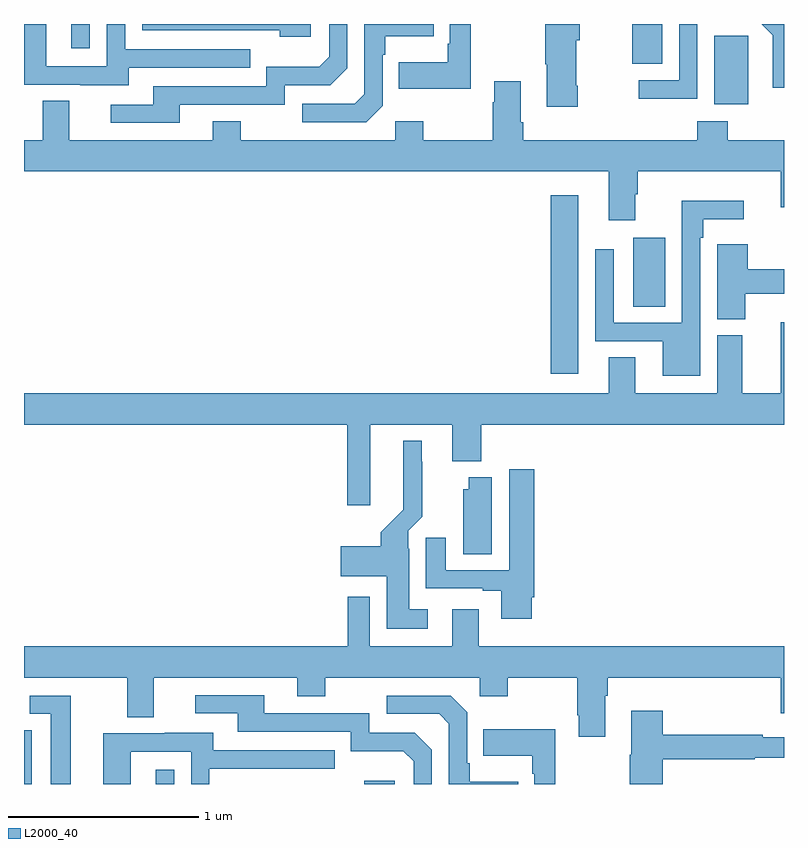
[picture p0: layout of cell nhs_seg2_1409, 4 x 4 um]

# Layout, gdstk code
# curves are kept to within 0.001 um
import gdstk
lib = gdstk.Library(unit=1e-6, precision=1e-09)
def R(c, l, rs):  # rectangles x0, y0, x1, y1
    for r in rs: c.add(gdstk.rectangle(r[:2], r[2:], *l))
def P(c, l, *ps):  # polygons
    for p in ps: c.add(gdstk.Polygon(p, *l))
L2000_40 = (2000, 40)

nhs_seg2_1409 = lib.new_cell('nhs_seg2_1409')
R(nhs_seg2_1409, L2000_40, [(185,589.8,185.04,590.084), (185.693,589.8,185.79,589.876), (186.791,589.8,186.952,589.816), (187.772,591.96,187.918,592.9), (188.207,592.312,188.374,592.675), (188.633,593.378,188.812,593.739), (188.201,593.59,188.359,593.8), (185.249,593.673,185.346,593.8)])
P(nhs_seg2_1409, L2000_40, [(185.551,593.571),(186.191,593.571),(186.191,593.667),(185.532,593.667),(185.532,593.8),(185.436,593.8),(185.436,593.577),(185.118,593.577),(185.118,593.8),(185,593.8),(185,593.481),(185.297,593.481),(185.297,593.477),(185.551,593.477)],
  [(186.888,593.37),(186.888,593.639),(186.901,593.639),(186.901,593.735),(187.157,593.735),(187.157,593.8),(186.792,593.8),(186.792,593.43),(186.741,593.379),(186.465,593.379),(186.465,593.283),(186.801,593.283)],
  [(189,593.8),(188.882,593.8),(188.942,593.741),(188.942,593.618),(188.94,593.618),(188.94,593.464),(189,593.464)],
  [(188.544,593.8),(188.448,593.8),(188.448,593.505),(188.235,593.505),(188.235,593.407),(188.544,593.407)],
  [(187.351,593.8),(187.242,593.8),(187.242,593.695),(187.23,593.695),(187.23,593.599),(186.973,593.599),(186.973,593.459),(187.351,593.459)],
  [(187.914,593.476),(187.906,593.476),(187.906,593.715),(187.924,593.715),(187.924,593.8),(187.744,593.8),(187.744,593.587),(187.751,593.587),(187.751,593.364),(187.914,593.364)],
  [(186.508,593.8),(185.622,593.8),(185.622,593.766),(186.347,593.766),(186.347,593.732),(186.508,593.732)],
  [(185.821,593.376),(186.372,593.376),(186.372,593.478),(186.612,593.478),(186.702,593.568),(186.702,593.8),(186.606,593.8),(186.606,593.628),(186.553,593.575),(186.276,593.575),(186.276,593.472),(185.681,593.472),(185.681,593.376),(185.457,593.376),(185.457,593.28),(185.821,593.28)],
  [(188.218,592.904),(188.231,592.904),(188.231,593.024),(188.984,593.024),(188.984,592.836),(189,592.836),(189,593.188),(188.703,593.188),(188.703,593.287),(188.543,593.287),(188.543,593.188),(187.628,593.188),(187.628,593.284),(187.615,593.284),(187.615,593.5),(187.475,593.5),(187.475,593.387),(187.468,593.387),(187.468,593.188),(187.101,593.188),(187.101,593.287),(186.954,593.287),(186.954,593.188),(186.141,593.188),(186.141,593.287),(185.993,593.287),(185.993,593.188),(185.239,593.188),(185.239,593.396),(185.099,593.396),(185.099,593.188),(185,593.188),(185,593.024),(188.078,593.024),(188.078,592.767),(188.218,592.767)],
  [(188.559,592.676),(188.575,592.676),(188.575,592.772),(188.788,592.772),(188.788,592.87),(188.463,592.87),(188.463,592.227),(188.103,592.227),(188.103,592.615),(188.007,592.615),(188.007,592.131),(188.363,592.131),(188.363,591.95),(188.559,591.95)],
  [(188.797,592.379),(189,592.379),(189,592.509),(188.81,592.509),(188.81,592.642),(188.649,592.642),(188.649,592.529),(188.648,592.529),(188.648,592.246),(188.797,592.246)],
  [(186.823,591.692),(187.253,591.692),(187.253,591.5),(187.406,591.5),(187.406,591.692),(189,591.692),(189,592.231),(188.984,592.231),(188.984,591.856),(188.779,591.856),(188.779,592.161),(188.648,592.161),(188.648,591.856),(188.218,591.856),(188.218,592.046),(188.078,592.046),(188.078,591.856),(185,591.856),(185,591.692),(186.701,591.692),(186.701,591.267),(186.823,591.267)],
  [(187.126,590.719),(187.027,590.719),(187.027,591.038),(187.023,591.038),(187.023,591.132),(187.097,591.206),(187.097,591.497),(187.093,591.497),(187.093,591.607),(186.995,591.607),(186.996,591.244),(186.878,591.126),(186.878,591.052),(186.666,591.052),(186.666,590.894),(186.908,590.894),(186.908,590.618),(187.126,590.618)],
  [(187.672,590.782),(187.685,590.782),(187.685,591.457),(187.553,591.457),(187.553,590.925),(187.219,590.925),(187.219,591.097),(187.115,591.097),(187.115,590.829),(187.415,590.829),(187.415,590.817),(187.511,590.817),(187.511,590.67),(187.672,590.67)],
  [(187.462,591.415),(187.34,591.415),(187.34,591.351),(187.313,591.351),(187.313,591.01),(187.462,591.01)],
  [(188.059,590.264),(188.072,590.264),(188.072,590.36),(188.984,590.36),(188.984,590.172),(189,590.172),(189,590.524),(187.393,590.524),(187.393,590.719),(187.253,590.719),(187.253,590.524),(186.819,590.524),(186.819,590.785),(186.703,590.785),(186.703,590.524),(185,590.524),(185,590.36),(185.543,590.36),(185.543,590.152),(185.683,590.152),(185.683,590.36),(186.437,590.36),(186.437,590.261),(186.585,590.261),(186.585,590.36),(187.398,590.36),(187.398,590.261),(187.545,590.261),(187.545,590.36),(187.912,590.36),(187.912,590.161),(187.919,590.161),(187.919,590.049),(188.059,590.049)],
  [(187.146,589.98),(187.056,590.07),(186.816,590.07),(186.816,590.172),(186.265,590.172),(186.265,590.268),(185.901,590.268),(185.901,590.172),(186.125,590.172),(186.125,590.076),(186.72,590.076),(186.72,589.973),(186.997,589.973),(187.05,589.92),(187.05,589.8),(187.146,589.8)],
  [(187.601,589.813),(187.345,589.813),(187.345,589.909),(187.332,589.909),(187.332,590.178),(187.245,590.265),(186.909,590.265),(186.909,590.169),(187.185,590.169),(187.236,590.118),(187.236,589.8),(187.601,589.8)],
  [(185.245,590.265),(185.031,590.265),(185.031,590.169),(185.141,590.169),(185.141,589.8),(185.245,589.8)],
  [(188.363,589.93),(188.846,589.93),(188.846,589.938),(189,589.938),(189,590.046),(188.888,590.046),(188.888,590.059),(188.363,590.059),(188.363,590.185),(188.195,590.185),(188.195,589.953),(188.188,589.953),(188.188,589.8),(188.363,589.8)],
  [(187.795,590.089),(187.417,590.089),(187.417,589.949),(187.674,589.949),(187.674,589.853),(187.686,589.853),(187.686,589.8),(187.795,589.8)],
  [(185.562,589.971),(185.88,589.971),(185.88,589.8),(185.976,589.8),(185.976,589.881),(186.635,589.881),(186.635,589.977),(185.995,589.977),(185.995,590.071),(185.741,590.071),(185.741,590.067),(185.417,590.067),(185.417,589.8),(185.562,589.8)])

lib.write_gds('nhs_seg2_1409.gds')
